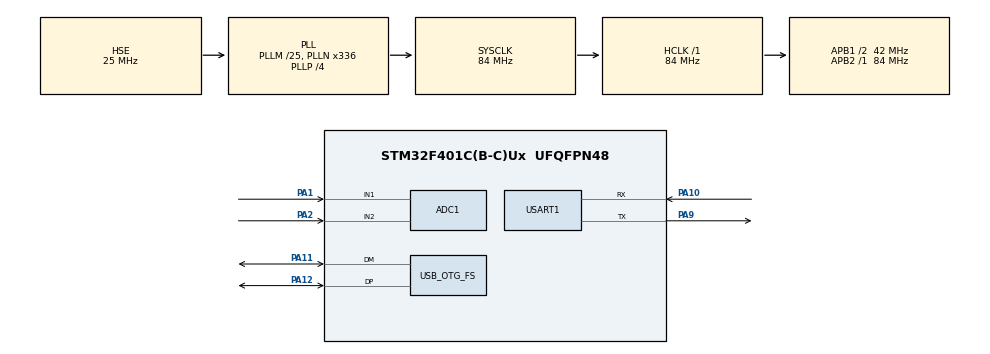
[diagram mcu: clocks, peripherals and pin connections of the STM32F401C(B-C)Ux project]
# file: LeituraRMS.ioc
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ADC1.Channel-1\#ChannelRegularConversion=ADC_CHANNEL_1
ADC1.Channel-2\#ChannelRegularConversion=ADC_CHANNEL_2
ADC1.DMAContinuousRequests=ENABLE
ADC1.ExternalTrigConv=ADC_EXTERNALTRIGCONV_T2_TRGO
ADC1.NbrOfConversion=2
ADC1.NbrOfConversionFlag=1
ADC1.Rank-1\#ChannelRegularConversion=1
ADC1.Rank-2\#ChannelRegularConversion=2
ADC1.SamplingTime-1\#ChannelRegularConversion=ADC_SAMPLETIME_3CYCLES
ADC1.SamplingTime-2\#ChannelRegularConversion=ADC_SAMPLETIME_3CYCLES
ADC1.ScanConvMode=ENABLE
ADC1.master=1
Dma.ADC1.0.Direction=DMA_PERIPH_TO_MEMORY
Dma.ADC1.0.FIFOMode=DMA_FIFOMODE_DISABLE
Dma.ADC1.0.Instance=DMA2_Stream0
Dma.ADC1.0.MemDataAlignment=DMA_MDATAALIGN_HALFWORD
Dma.ADC1.0.MemInc=DMA_MINC_ENABLE
Dma.ADC1.0.Mode=DMA_CIRCULAR
Dma.ADC1.0.PeriphDataAlignment=DMA_PDATAALIGN_HALFWORD
Dma.ADC1.0.PeriphInc=DMA_PINC_DISABLE
Dma.ADC1.0.Priority=DMA_PRIORITY_HIGH
Dma.Request0=ADC1
Mcu.Family=STM32F4
Mcu.Name=STM32F401C(B-C)Ux
Mcu.Package=UFQFPN48
NVIC.ADC_IRQn=true\:0\:0\:false\:false\:true\:true\:true\:true
NVIC.DMA2_Stream0_IRQn=true\:0\:0\:false\:false\:true\:false\:true\:true
NVIC.OTG_FS_IRQn=true\:0\:0\:false\:false\:true\:false\:true\:true
NVIC.PriorityGroup=NVIC_PRIORITYGROUP_4
NVIC.TIM2_IRQn=true\:0\:0\:false\:false\:true\:true\:true\:true
PA1.Signal=ADCx_IN1
PA10.Mode=Asynchronous
PA10.Signal=USART1_RX
PA11.Mode=Device_Only
PA11.Signal=USB_OTG_FS_DM
PA12.Mode=Device_Only
PA12.Signal=USB_OTG_FS_DP
PA13.Mode=Serial_Wire
PA13.Signal=SYS_JTMS-SWDIO
PA14.Mode=Serial_Wire
PA14.Signal=SYS_JTCK-SWCLK
PA2.Signal=ADCx_IN2
PA9.Mode=Asynchronous
PA9.Signal=USART1_TX
PH0\ -\ OSC_IN.Mode=HSE-External-Oscillator
PH0\ -\ OSC_IN.Signal=RCC_OSC_IN
PH1\ -\ OSC_OUT.Mode=HSE-External-Oscillator
PH1\ -\ OSC_OUT.Signal=RCC_OSC_OUT
ProjectManager.HeapSize=0x200
ProjectManager.StackSize=0x400
ProjectManager.TargetToolchain=STM32CubeIDE
RCC.48MHZClocksFreq_Value=48000000
RCC.AHBFreq_Value=84000000
RCC.APB1CLKDivider=RCC_HCLK_DIV2
RCC.APB1Freq_Value=42000000
RCC.APB1TimFreq_Value=84000000
RCC.APB2Freq_Value=84000000
RCC.APB2TimFreq_Value=84000000
RCC.CortexFreq_Value=84000000
RCC.HCLKFreq_Value=84000000
RCC.HSE_VALUE=25000000
RCC.HSI_VALUE=16000000
RCC.LSE_VALUE=32768
RCC.PLLM=25
RCC.PLLN=336
RCC.PLLP=RCC_PLLP_DIV4
RCC.PLLQ=7
RCC.SYSCLKFreq_VALUE=84000000
RCC.SYSCLKSource=RCC_SYSCLKSOURCE_PLLCLK
RCC.VCOOutputFreq_Value=336000000
SH.ADCx_IN1.0=ADC1_IN1,IN1
SH.ADCx_IN2.0=ADC1_IN2,IN2
TIM2.Period=124
TIM2.Prescaler=83
TIM2.TIM_MasterOutputTrigger=TIM_TRGO_UPDATE
USART1.VirtualMode=VM_ASYNC
USB_DEVICE.CLASS_NAME_FS=CDC
USB_DEVICE.VirtualMode=Cdc
USB_DEVICE.VirtualModeFS=Cdc_FS
USB_OTG_FS.VirtualMode=Device_Only
VP_TIM2_VS_ClockSourceINT.Mode=Internal
VP_USB_DEVICE_VS_USB_DEVICE_CDC_FS.Mode=CDC_FS
board=custom

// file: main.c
/* USER CODE BEGIN Header */
/**
  ******************************************************************************
  * @file           : main.c
  * @brief          : Main program body
  ******************************************************************************
  * @attention
  *
  * Copyright (c) 2025 STMicroelectronics.
  * All rights reserved.
  *
  * This software is licensed under terms that can be found in the LICENSE file
  * in the root directory of this software component.
  * If no LICENSE file comes with this software, it is provided AS-IS.
  *
  ******************************************************************************
  */
/* USER CODE END Header */
#include "main.h"
#include "adc.h"
#include "dma.h"
#include "tim.h"
#include "usart.h"
#include "usb_device.h"
#include "gpio.h"

/* USER CODE BEGIN Includes */
#include "usbd_cdc_if.h"
#include "stdio.h"
#include "math.h"
#include "string.h"
#include <stdbool.h>
/* USER CODE END Includes */

/* USER CODE BEGIN PD */
#define AMOSTRAS 2048
#define CANAIS 2
#define BUFFER_ADC (AMOSTRAS * CANAIS)
#define HALF_AMOSTRAS (AMOSTRAS / 2)
/* USER CODE END PD */

/* USER CODE BEGIN PV */
uint16_t analogico[BUFFER_ADC];

volatile bool halfReady = false;
volatile bool fullReady = false;

uint16_t sensorTensao[AMOSTRAS];
uint16_t sensorCorrente[AMOSTRAS];
/* USER CODE END PV */

void SystemClock_Config(void);

/* USER CODE BEGIN 0 */
float converte_RMS(uint16_t *dados, uint32_t tamanho){
    const float adc_scale = 3.3f / 4095.0f;
    const float fator_tensao = 442.0f; // seu fator calibrado
    float offset = 0.0f;
    float soma = 0.0f;

    for(uint32_t i = 0; i < tamanho; i++){
        offset += dados[i];
    }
    offset /= tamanho;

    for(uint32_t i = 0; i < tamanho; i++){
        float v = (dados[i] - offset) * adc_scale;
        soma += v * v;
    }
    return sqrtf(soma / tamanho) * fator_tensao;
}

float calculaCorrenteRMS(uint16_t *dados, uint32_t tamanho){
	const float ganho = 0.00435f;      // fator ADC já convertido
	const float Irms_zero = 0.105f;    // ruído base calibrado
	 const float fatorCorrecao = 1.0f; // ajuste fino (se necessário)
	float offset = 0.0f;
	float soma = 0.0f;

	// Calcula offset médio
	for(uint32_t i = 0; i < tamanho; i++)
		offset += dados[i];

	offset /= tamanho;

	// Calcula soma dos quadrados
	for(uint32_t i = 0; i < tamanho; i++)
	{
		float corrente = (dados[i] - offset) * ganho;
		soma += corrente * corrente;
	}

	float Irms = sqrtf(soma / tamanho);

	// Remove ruído quadrático
	if(Irms > Irms_zero)
		Irms = sqrtf(Irms*Irms - Irms_zero*Irms_zero);
	else
		Irms = 0.0f;

	// Aplica correção final
	Irms *= fatorCorrecao;

	return Irms;

}

void enviaAmostrasCanal(uint16_t *buffer, uint8_t canal){
	static char usbBuffer[32];
	for(int i = 0; i < HALF_AMOSTRAS; i++){
		uint16_t valor = buffer[i * CANAIS + canal];
		int len = sprintf(usbBuffer,"%u\r\n",valor);
		while(CDC_Transmit_FS((uint8_t*)usbBuffer,len) == USBD_BUSY);
	}
}

void copiaCanal(uint16_t *buffer, uint16_t *destino, uint8_t canal){
    for(int i = 0; i < HALF_AMOSTRAS; i++){
        destino[i] = buffer[i * CANAIS + canal];
    }
}

void enviaRmsSerialMonitoramento(uint16_t *buffer){
    static uint16_t tempTensao[HALF_AMOSTRAS];
    static uint16_t tempCorrente[HALF_AMOSTRAS];

    static char usbBuffer[64];

    copiaCanal(buffer,tempTensao,0);
    copiaCanal(buffer,tempCorrente,1);

    float vrms = converte_RMS(tempTensao,HALF_AMOSTRAS);
    float irms = calculaCorrenteRMS(tempCorrente,HALF_AMOSTRAS);
    int len = sprintf(usbBuffer, "Vrms=%.2f Irms=%.2f\r\n", vrms, irms);
    while(CDC_Transmit_FS((uint8_t*)usbBuffer,len) == USBD_BUSY);
}

void enviaRmsEsp32(float vrms, float irms){
    static char uartBuffer[80];
    int len = sprintf(uartBuffer, "{\"vrms\":%.2f,\"irms\":%.2f}\n", vrms, irms);
    HAL_UART_Transmit(&huart1,(uint8_t*)uartBuffer,len,HAL_MAX_DELAY);
}

void enviaRmsEsp32FromBuffer(uint16_t *buffer){
    static uint16_t tempTensao[HALF_AMOSTRAS];
    static uint16_t tempCorrente[HALF_AMOSTRAS];

    copiaCanal(buffer,tempTensao,0);
    copiaCanal(buffer,tempCorrente,1);

    float vrms = converte_RMS(tempTensao,HALF_AMOSTRAS);
    float irms = calculaCorrenteRMS(tempCorrente,HALF_AMOSTRAS);

    enviaRmsEsp32(vrms,irms);
}

void HAL_ADC_ConvHalfCpltCallback(ADC_HandleTypeDef* hadc)
{
    if(hadc->Instance == ADC1)
        halfReady = true;
}

void HAL_ADC_ConvCpltCallback(ADC_HandleTypeDef* hadc) {
    if (hadc->Instance == ADC1) {
    	fullReady = true;
    }
}

/* USER CODE END 0 */

int main(void)
{

  /* MCU Configuration--------------------------------------------------------*/

  /* Reset of all peripherals, Initializes the Flash interface and the Systick. */
  HAL_Init();

  /* Configure the system clock */
  SystemClock_Config();

  /* Initialize all configured peripherals */
  MX_GPIO_Init();
  MX_DMA_Init();
  MX_ADC1_Init();
  MX_USB_DEVICE_Init();
  MX_TIM2_Init();
  MX_USART1_UART_Init();
  /* USER CODE BEGIN 2 */
  HAL_TIM_Base_Start(&htim2);
  HAL_ADC_Start_DMA(&hadc1, (uint32_t*)analogico, BUFFER_ADC);
  /* USER CODE END 2 */

  /* Infinite loop */
  /* USER CODE BEGIN WHILE */
  while (1){
	  if(halfReady){
		  halfReady = false;
		  enviaRmsEsp32FromBuffer(&analogico[0]);
	  }

	  if(fullReady){
		  enviaRmsEsp32FromBuffer(&analogico[HALF_AMOSTRAS * CANAIS]);
		  fullReady = false;
	  }

    /* USER CODE END WHILE */

  }
}

void SystemClock_Config(void)
{
  RCC_OscInitTypeDef RCC_OscInitStruct = {0};
  RCC_ClkInitTypeDef RCC_ClkInitStruct = {0};

  /** Configure the main internal regulator output voltage
  */
  __HAL_RCC_PWR_CLK_ENABLE();
  __HAL_PWR_VOLTAGESCALING_CONFIG(PWR_REGULATOR_VOLTAGE_SCALE2);

  /** Initializes the RCC Oscillators according to the specified parameters
  * in the RCC_OscInitTypeDef structure.
  */
  RCC_OscInitStruct.OscillatorType = RCC_OSCILLATORTYPE_HSE;
  RCC_OscInitStruct.HSEState = RCC_HSE_ON;
  RCC_OscInitStruct.PLL.PLLState = RCC_PLL_ON;
  RCC_OscInitStruct.PLL.PLLSource = RCC_PLLSOURCE_HSE;
  RCC_OscInitStruct.PLL.PLLM = 25;
  RCC_OscInitStruct.PLL.PLLN = 336;
  RCC_OscInitStruct.PLL.PLLP = RCC_PLLP_DIV4;
  RCC_OscInitStruct.PLL.PLLQ = 7;
  if (HAL_RCC_OscConfig(&RCC_OscInitStruct) != HAL_OK)
  {
    Error_Handler();
  }

  /** Initializes the CPU, AHB and APB buses clocks
  */
  RCC_ClkInitStruct.ClockType = RCC_CLOCKTYPE_HCLK|RCC_CLOCKTYPE_SYSCLK
                              |RCC_CLOCKTYPE_PCLK1|RCC_CLOCKTYPE_PCLK2;
  RCC_ClkInitStruct.SYSCLKSource = RCC_SYSCLKSOURCE_PLLCLK;
  RCC_ClkInitStruct.AHBCLKDivider = RCC_SYSCLK_DIV1;
  RCC_ClkInitStruct.APB1CLKDivider = RCC_HCLK_DIV2;
  RCC_ClkInitStruct.APB2CLKDivider = RCC_HCLK_DIV1;

  if (HAL_RCC_ClockConfig(&RCC_ClkInitStruct, FLASH_LATENCY_2) != HAL_OK)
  {
    Error_Handler();
  }
}

void Error_Handler(void)
{
  __disable_irq();
  while (1)
  {
  }
}
